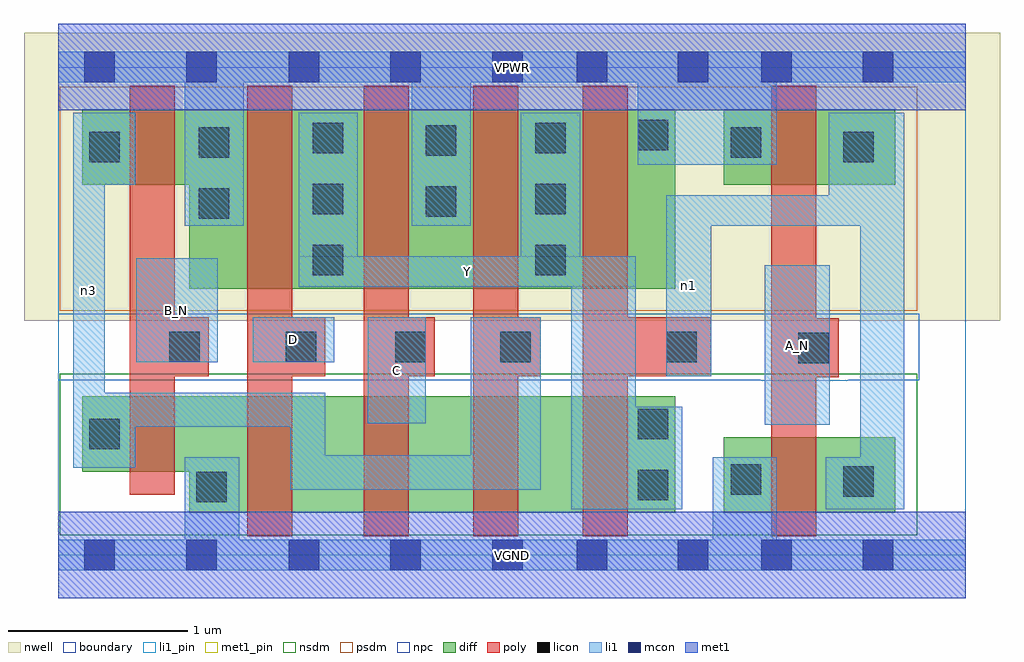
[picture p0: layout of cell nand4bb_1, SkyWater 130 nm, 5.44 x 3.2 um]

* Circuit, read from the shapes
.subckt nand4bb_1 A_N B_N C D VGND VPWR Y n1 n3
XM1 VGND B_N n3 VSUBS sky130_fd_pr__nfet_01v8 w=0.42 l=0.25
XM2 n2 D VGND VSUBS sky130_fd_pr__nfet_01v8 w=0.65 l=0.25
XM3 n4 C n2 VSUBS sky130_fd_pr__nfet_01v8 w=0.65 l=0.25
XM4 n5 n3 n4 VSUBS sky130_fd_pr__nfet_01v8 w=0.65 l=0.25
XM5 Y n1 n5 VSUBS sky130_fd_pr__nfet_01v8 w=0.65 l=0.25
XM6 n1 A_N VGND VSUBS sky130_fd_pr__nfet_01v8 w=0.42 l=0.25
XM7 VPWR B_N n3 n6 sky130_fd_pr__pfet_01v8 w=0.42 l=0.25
XM8 Y D VPWR n6 sky130_fd_pr__pfet_01v8 w=1 l=0.25
XM9 VPWR C Y n6 sky130_fd_pr__pfet_01v8 w=1 l=0.25
XM10 Y n3 VPWR n6 sky130_fd_pr__pfet_01v8 w=1 l=0.25
XM11 VPWR n1 Y n6 sky130_fd_pr__pfet_01v8 w=1 l=0.25
XM12 n1 A_N VPWR n6 sky130_fd_pr__pfet_01v8 w=0.42 l=0.25
.ends

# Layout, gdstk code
import gdstk
lib = gdstk.Library(unit=1e-6, precision=1e-09)
def R(c, l, rs):  # rectangles x0, y0, x1, y1
    for r in rs: c.add(gdstk.rectangle(r[:2], r[2:], *l))
def A(c, l, x, y, w, h, nx, ny, dx, dy):  # array of equal rectangles
    R(c, l, [(x+i*dx, y+j*dy, x+i*dx+w, y+j*dy+h) for i in range(nx) for j in range(ny)])
nwell = (64, 20)
diff = (65, 20)
poly = (66, 20)
licon = (66, 44)
li1_pin = (67, 16)
li1 = (67, 20)
mcon = (67, 44)
met1_pin = (68, 16)
met1 = (68, 20)
nsdm = (93, 44)
psdm = (94, 20)
npc = (95, 20)
boundary = (235, 4)

nand4bb_1 = lib.new_cell('nand4bb_1')
R(nand4bb_1, nwell, [(-0.19,1.305,5.25,2.91), (0,1.305,5.06,2.91)])
R(nand4bb_1, diff, [(0.73,0.235,3.44,0.885), (3.71,0.235,4.665,0.655), (0.135,0.465,3.44,0.885), (0.73,1.485,3.44,2.485), (0.135,2.065,3.44,2.485), (3.71,2.065,4.665,2.485)])
A(nand4bb_1, poly, 1.705, 0.105, 0.25, 2.51, 3, 1, 0.61, 0)
R(nand4bb_1, poly, [(1.055,0.105,1.305,2.615), (3.975,0.105,4.225,2.615), (0.4,0.335,0.65,2.615), (3.975,0.99,4.35,1.32), (0.4,0.995,0.84,1.325), (1.055,0.995,1.49,1.325), (1.705,0.995,2.1,1.325), (2.315,0.995,2.69,1.325), (2.925,0.995,3.64,1.325)])
A(nand4bb_1, licon, 1.42, 1.56, 0.17, 0.17, 1, 3, 0, 0.34)
A(nand4bb_1, licon, 2.66, 1.56, 0.17, 0.17, 1, 3, 0, 0.34)
R(nand4bb_1, licon, [(0.77,0.295,0.94,0.465), (3.23,0.305,3.4,0.475), (4.375,0.325,4.545,0.495), (3.75,0.335,3.92,0.505), (0.175,0.59,0.345,0.76), (3.23,0.645,3.4,0.815), (4.125,1.07,4.295,1.24), (0.62,1.075,0.79,1.245), (1.27,1.075,1.44,1.245), (1.88,1.075,2.05,1.245), (2.465,1.075,2.635,1.245), (3.39,1.075,3.56,1.245), (0.785,1.875,0.955,2.045), (2.05,1.885,2.22,2.055), (0.175,2.19,0.345,2.36), (4.375,2.19,4.545,2.36), (0.785,2.215,0.955,2.385), (3.75,2.215,3.92,2.385), (2.05,2.225,2.22,2.395), (3.23,2.255,3.4,2.425)])
R(nand4bb_1, li1_pin, [(3.94,0.725,4.3,1.615), (1.725,0.735,2.05,1.325), (0.435,1.075,0.89,1.655), (1.085,1.075,1.54,1.325), (1.34,1.495,3.22,1.665)])
R(nand4bb_1, li1, [(0,-0.085,5.06,0.085), (0.705,-0.085,1.01,0.545), (3.65,-0.085,4.005,0.545), (2.86,0.255,3.22,1.665), (2.86,0.255,3.48,0.825), (4.28,0.255,4.715,0.545), (4.47,0.255,4.715,2.465), (1.295,0.365,2.69,0.555), (1.295,0.365,1.49,0.905), (2.3,0.365,2.69,1.325), (0.085,0.485,0.26,2.465), (0.085,0.485,0.43,0.905), (0.085,0.715,1.49,0.905), (3.94,0.725,4.3,1.615), (1.725,0.735,2.05,1.325), (3.39,0.995,3.64,2.005), (0.435,1.075,0.89,1.655), (1.085,1.075,1.54,1.325), (1.34,1.495,1.67,2.465), (1.34,1.495,3.22,1.665), (2.58,1.495,2.91,2.465), (0.705,1.835,1.035,2.805), (1.97,1.835,2.3,2.805), (3.39,1.835,4.715,2.005), (4.295,1.835,4.715,2.465), (0.085,2.065,0.43,2.465), (3.23,2.175,4.005,2.805), (0,2.635,5.06,2.805)])
A(nand4bb_1, mcon, 0.145, -0.085, 0.17, 0.17, 3, 2, 0.57, 2.72)
R(nand4bb_1, mcon, [(1.85,-0.085,2.02,0.085), (2.42,-0.085,2.59,0.085), (2.89,-0.085,3.06,0.085), (3.455,-0.085,3.625,0.085), (3.92,-0.085,4.09,0.085), (4.485,-0.085,4.655,0.085), (1.85,2.635,2.02,2.805), (2.42,2.635,2.59,2.805), (2.89,2.635,3.06,2.805), (3.455,2.635,3.625,2.805), (3.92,2.635,4.09,2.805), (4.485,2.635,4.655,2.805)])
R(nand4bb_1, met1_pin, [(0,-0.24,5.06,0.24), (0,2.48,5.06,2.96)])
R(nand4bb_1, met1, [(0,-0.24,5.06,0.24), (0,2.48,5.06,2.96)])
R(nand4bb_1, nsdm, [(0.01,0.11,4.79,1.01)])
R(nand4bb_1, psdm, [(0.01,1.36,4.79,2.61)])
R(nand4bb_1, npc, [(3.92,0.97,4.4,1.345), (0,0.975,4.8,1.345)])
R(nand4bb_1, boundary, [(0,0,5.06,2.72)])
nand4bb_1.add(gdstk.Label('A_N', (4.12,1.17), layer=67, texttype=5))
nand4bb_1.add(gdstk.Label('B_N', (0.662,1.365), layer=67, texttype=5))
nand4bb_1.add(gdstk.Label('C', (1.887,1.03), layer=67, texttype=5))
nand4bb_1.add(gdstk.Label('D', (1.312,1.2), layer=67, texttype=5))
nand4bb_1.add(gdstk.Label('Y', (2.28,1.58), layer=67, texttype=5))
nand4bb_1.add(gdstk.Label('n3', (0.172,1.475), layer=67, texttype=5))
nand4bb_1.add(gdstk.Label('n1', (3.515,1.5), layer=67, texttype=5))
nand4bb_1.add(gdstk.Label('VPWR', (2.53,2.72), layer=68, texttype=5))
nand4bb_1.add(gdstk.Label('VGND', (2.53,0), layer=68, texttype=5))
nand4bb_1.add(gdstk.Label('A_N', (4.12,1.17), layer=67, texttype=16))
nand4bb_1.add(gdstk.Label('B_N', (0.662,1.365), layer=67, texttype=16))
nand4bb_1.add(gdstk.Label('C', (1.887,1.03), layer=67, texttype=16))
nand4bb_1.add(gdstk.Label('D', (1.312,1.2), layer=67, texttype=16))
nand4bb_1.add(gdstk.Label('Y', (2.28,1.58), layer=67, texttype=16))
nand4bb_1.add(gdstk.Label('VPWR', (2.53,2.72), layer=68, texttype=16))
nand4bb_1.add(gdstk.Label('VGND', (2.53,0), layer=68, texttype=16))

lib.write_gds('nand4bb_1.gds')
